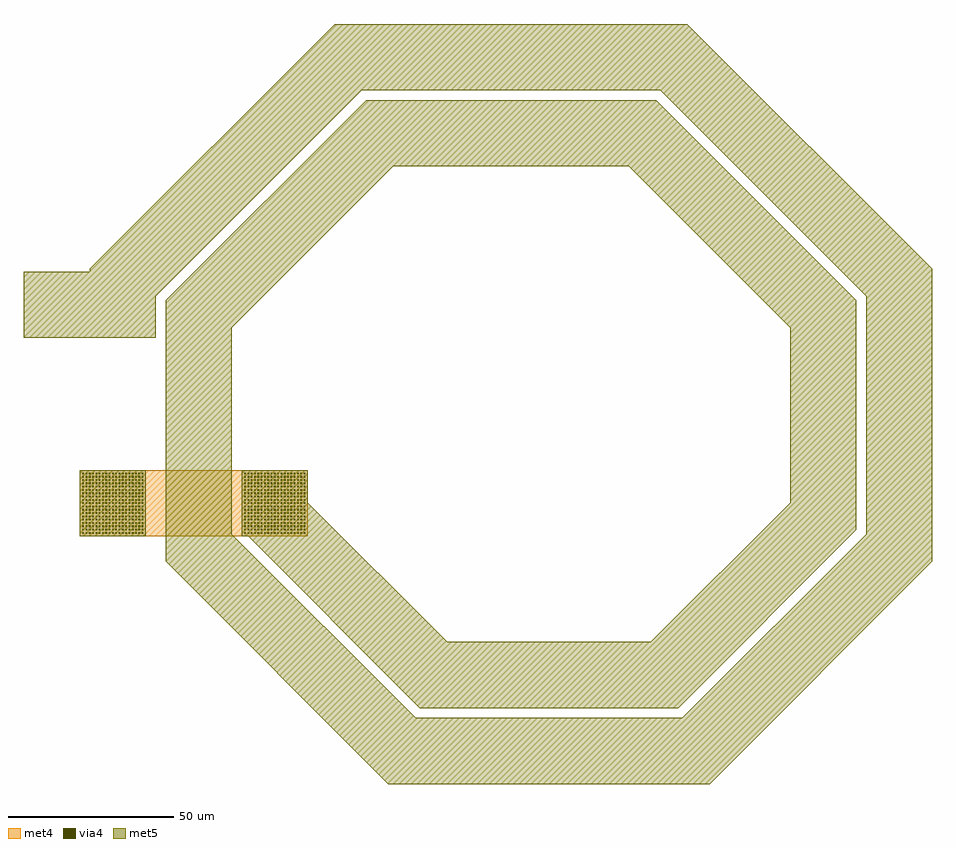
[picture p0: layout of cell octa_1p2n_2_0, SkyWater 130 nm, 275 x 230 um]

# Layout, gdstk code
import gdstk
lib = gdstk.Library(unit=1e-6, precision=1e-09)
def R(c, l, rs):  # rectangles x0, y0, x1, y1
    for r in rs: c.add(gdstk.rectangle(r[:2], r[2:], *l))
def A(c, l, x, y, w, h, nx, ny, dx, dy):  # array of equal rectangles
    R(c, l, [(x+i*dx, y+j*dy, x+i*dx+w, y+j*dy+h) for i in range(nx) for j in range(ny)])
def P(c, l, *ps):  # polygons
    for p in ps: c.add(gdstk.Polygon(p, *l))
met4 = (71, 20)
via4 = (71, 44)
met5 = (72, 20)

octa_1p2n_2_0 = lib.new_cell('octa_1p2n_2_0')
R(octa_1p2n_2_0, met4, [(-142,-40,-73,-20), (-142,-40,-122,-20), (-93,-40,-73,-20)])
A(octa_1p2n_2_0, via4, -141.25, -39.25, 0.5, 0.5, 19, 19, 1, 1)
A(octa_1p2n_2_0, via4, -92.25, -39.25, 0.5, 0.5, 19, 19, 1, 1)
R(octa_1p2n_2_0, met5, [(-142,-40,-122,-20), (-93,-40,-73,-20), (-159,20,-119,40)])
P(octa_1p2n_2_0, met5, [(-73,-20),(-73,-29.825),(-30.825,-72),(30.825,-72),(73,-29.825),(73,23.085),(24.085,72),(-47.085,72),(-96,23.085),(-96,-39.35),(-40.35,-95),(40.35,-95),(96,-39.35),(96,32.615),(33.615,95),(-56.615,95),(-119,32.615),(-119,20),(-139,20),(-139,40.9),(-64.9,115),(41.9,115),(116,40.9),(116,-47.635),(48.635,-115),(-48.635,-115),(-116,-47.635),(-116,31.37),(-55.37,92),(32.37,92),(93,31.37),(93,-38.11),(39.11,-92),(-39.11,-92),(-93,-38.11),(-93,-20)])

lib.write_gds('octa_1p2n_2_0.gds')
